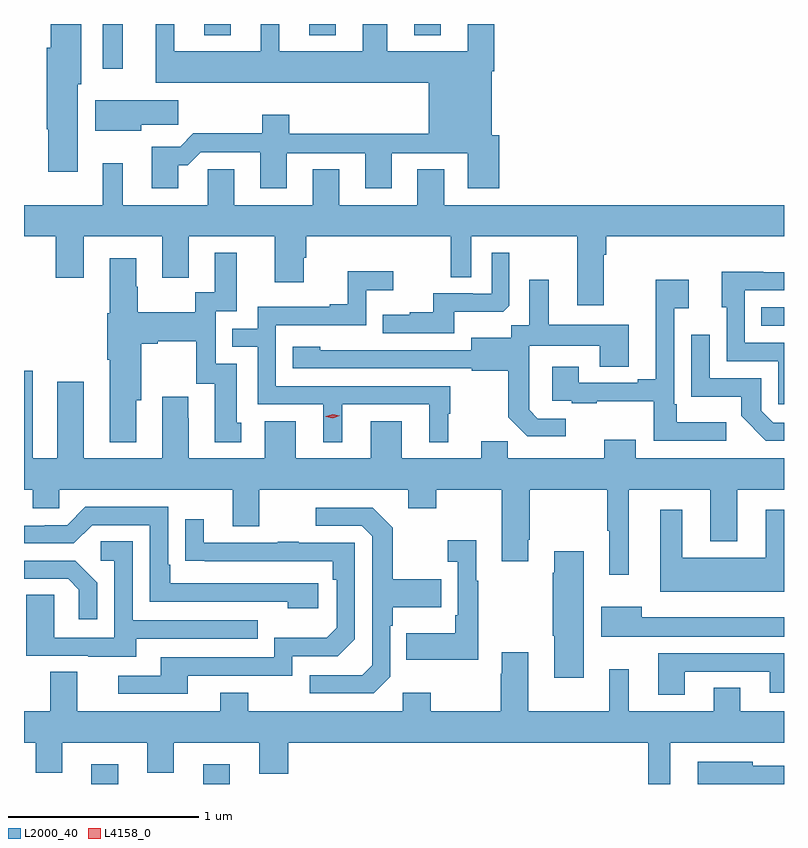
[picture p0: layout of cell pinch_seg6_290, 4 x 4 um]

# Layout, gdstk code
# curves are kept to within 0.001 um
import gdstk
lib = gdstk.Library(unit=1e-6, precision=1e-09)
def R(c, l, rs):  # rectangles x0, y0, x1, y1
    for r in rs: c.add(gdstk.rectangle(r[:2], r[2:], *l))
def A(c, l, x, y, w, h, nx, ny, dx, dy):  # array of equal rectangles
    R(c, l, [(x+i*dx, y+j*dy, x+i*dx+w, y+j*dy+h) for i in range(nx) for j in range(ny)])
def P(c, l, *ps):  # polygons
    for p in ps: c.add(gdstk.Polygon(p, *l))
L2000_40 = (2000, 40)
L4158_0 = (4158, 0)

pinch_seg6_290 = lib.new_cell('pinch_seg6_290')
A(pinch_seg6_290, L2000_40, 879.437, 959.051, 0.14, 0.059, 3, 1, 0.552, 0)
R(pinch_seg6_290, L2000_40, [(878.843,955.11,878.983,955.213), (879.431,955.11,879.571,955.213), (882.367,957.522,882.488,957.618), (878.903,958.875,879.007,959.11)])
P(pinch_seg6_290, L2000_40, [(879.301,958.367),(879.35,958.367),(879.417,958.434),(879.731,958.434),(879.731,958.245),(879.871,958.245),(879.871,958.431),(880.283,958.431),(880.283,958.245),(880.423,958.245),(880.423,958.431),(880.823,958.431),(880.823,958.245),(880.988,958.245),(880.988,958.524),(880.951,958.524),(880.951,958.862),(880.964,958.862),(880.964,959.11),(880.823,959.11),(880.823,958.966),(880.399,958.966),(880.399,959.11),(880.271,959.11),(880.271,958.966),(879.832,958.966),(879.832,959.11),(879.734,959.11),(879.734,958.966),(879.28,958.966),(879.28,959.11),(879.182,959.11),(879.182,958.802),(880.619,958.802),(880.619,958.532),(879.884,958.532),(879.884,958.633),(879.742,958.633),(879.742,958.535),(879.38,958.535),(879.31,958.465),(879.161,958.465),(879.161,958.245),(879.301,958.245)],
  [(878.77,958.794),(878.788,958.794),(878.788,959.11),(878.63,959.11),(878.63,958.986),(878.608,958.986),(878.608,958.555),(878.615,958.555),(878.615,958.332),(878.77,958.332)],
  [(879.106,958.579),(879.301,958.579),(879.301,958.708),(878.862,958.708),(878.862,958.547),(879.106,958.547)],
  [(881.539,957.896),(881.552,957.896),(881.552,957.992),(882.488,957.992),(882.488,958.156),(880.699,958.156),(880.699,958.346),(880.559,958.346),(880.559,958.156),(880.147,958.156),(880.147,958.346),(880.007,958.346),(880.007,958.156),(879.595,958.156),(879.595,958.346),(879.456,958.346),(879.456,958.156),(879.007,958.156),(879.007,958.378),(878.903,958.378),(878.903,958.156),(878.488,958.156),(878.488,957.992),(878.656,957.992),(878.656,957.774),(878.803,957.774),(878.803,957.992),(879.215,957.992),(879.215,957.774),(879.355,957.774),(879.355,957.992),(879.809,957.992),(879.809,957.75),(879.961,957.75),(879.961,957.879),(879.974,957.879),(879.974,957.992),(880.734,957.992),(880.734,957.778),(880.842,957.778),(880.842,957.992),(881.399,957.992),(881.399,957.63),(881.539,957.63)],
  [(880.753,957.596),(881.011,957.596),(881.043,957.627),(881.043,957.907),(880.95,957.907),(880.95,957.69),(880.85,957.69),(880.85,957.693),(880.643,957.693),(880.643,957.592),(880.519,957.592),(880.519,957.58),(880.375,957.58),(880.375,957.483),(880.753,957.483)],
  [(879.079,957.129),(879.105,957.129),(879.105,957.428),(879.193,957.428),(879.193,957.44),(879.395,957.44),(879.395,957.216),(879.491,957.216),(879.491,956.91),(879.631,956.91),(879.631,957.012),(879.607,957.012),(879.607,957.321),(879.498,957.321),(879.498,957.597),(879.607,957.597),(879.607,957.907),(879.491,957.907),(879.491,957.698),(879.39,957.698),(879.39,957.592),(879.087,957.592),(879.087,957.726),(879.079,957.726),(879.079,957.877),(878.939,957.877),(878.939,957.588),(878.927,957.588),(878.927,957.344),(878.939,957.344),(878.939,956.909),(879.079,956.909)],
  [(880.162,957.108),(880.622,957.108),(880.622,956.909),(880.72,956.909),(880.72,957.06),(880.732,957.06),(880.732,957.204),(879.813,957.204),(879.813,957.525),(880.29,957.525),(880.29,957.71),(880.432,957.71),(880.432,957.809),(880.192,957.809),(880.192,957.634),(880.097,957.634),(880.097,957.621),(879.717,957.621),(879.717,957.507),(879.583,957.507),(879.583,957.411),(879.717,957.411),(879.717,957.108),(880.064,957.108),(880.064,956.909),(880.162,956.909)],
  [(882.488,957.432),(882.282,957.432),(882.282,957.708),(882.488,957.708),(882.488,957.804),(882.379,957.804),(882.379,957.806),(882.161,957.806),(882.161,957.618),(882.186,957.618),(882.186,957.336),(882.459,957.336),(882.459,957.108),(882.488,957.108)],
  [(882.184,957.013),(881.923,957.013),(881.923,957.109),(881.91,957.109),(881.91,957.614),(881.986,957.614),(881.986,957.763),(881.813,957.763),(881.813,957.241),(881.717,957.241),(881.717,957.222),(881.407,957.222),(881.407,957.307),(881.267,957.307),(881.267,957.126),(881.371,957.126),(881.371,957.114),(881.503,957.114),(881.503,957.125),(881.802,957.125),(881.802,956.916),(882.184,956.916)],
  [(881.338,957.033),(881.193,957.033),(881.146,957.08),(881.146,957.175),(881.148,957.175),(881.148,957.416),(881.519,957.416),(881.519,957.307),(881.671,957.307),(881.671,957.526),(881.251,957.526),(881.251,957.763),(881.147,957.763),(881.147,957.524),(881.052,957.524),(881.052,957.46),(880.841,957.46),(880.841,957.393),(880.047,957.394),(880.047,957.412),(879.903,957.412),(879.903,957.297),(880.845,957.297),(880.845,957.285),(881.037,957.285),(881.037,957.039),(881.137,956.939),(881.338,956.939)],
  [(882.488,957.012),(882.432,957.012),(882.369,957.075),(882.369,957.246),(882.096,957.246),(882.096,957.475),(882,957.475),(882,957.149),(882.262,957.149),(882.262,957.047),(882.392,956.916),(882.488,956.916)],
  [(881.003,956.283),(881.143,956.283),(881.143,956.395),(881.151,956.395),(881.151,956.66),(881.557,956.66),(881.557,956.444),(881.567,956.444),(881.567,956.211),(881.671,956.211),(881.671,956.66),(882.101,956.66),(882.101,956.387),(882.241,956.387),(882.241,956.66),(882.488,956.66),(882.488,956.824),(881.707,956.824),(881.707,956.923),(881.543,956.923),(881.543,956.824),(881.033,956.824),(881.033,956.915),(880.895,956.915),(880.895,956.824),(880.477,956.824),(880.477,957.019),(880.313,957.019),(880.313,956.824),(879.919,956.824),(879.919,957.019),(879.755,957.019),(879.755,956.824),(879.355,956.824),(879.355,957.035),(879.352,957.035),(879.352,957.148),(879.215,957.148),(879.215,956.824),(878.803,956.824),(878.803,957.226),(878.663,957.226),(878.663,956.824),(878.533,956.824),(878.533,957.286),(878.488,957.286),(878.488,956.66),(878.535,956.66),(878.535,956.562),(878.673,956.562),(878.673,956.66),(879.587,956.66),(879.587,956.466),(879.727,956.466),(879.727,956.66),(880.511,956.66),(880.511,956.561),(880.659,956.561),(880.659,956.66),(881.003,956.66)],
  [(880.036,956.166),(879.259,956.166),(879.259,956.263),(879.246,956.263),(879.246,956.568),(878.811,956.568),(878.715,956.472),(878.597,956.472),(878.597,956.469),(878.488,956.469),(878.488,956.376),(878.751,956.376),(878.847,956.472),(879.15,956.472),(879.15,956.07),(879.875,956.07),(879.875,956.036),(880.036,956.036)],
  [(880.416,955.674),(880.416,955.943),(880.429,955.943),(880.429,956.039),(880.685,956.039),(880.685,956.187),(880.429,956.187),(880.429,956.459),(880.323,956.565),(880.023,956.565),(880.023,956.469),(880.266,956.469),(880.32,956.415),(880.32,955.734),(880.269,955.683),(879.993,955.683),(879.993,955.587),(880.329,955.587)],
  [(882.488,956.554),(882.392,956.554),(882.392,956.302),(881.953,956.302),(881.953,956.554),(881.837,956.554),(881.837,956.123),(882.488,956.123)],
  [(879.349,955.68),(879.9,955.68),(879.9,955.782),(880.14,955.782),(880.23,955.872),(880.23,956.379),(879.935,956.379),(879.935,956.384),(879.823,956.384),(879.823,956.379),(879.433,956.379),(879.433,956.503),(879.337,956.503),(879.337,956.284),(880.114,956.283),(880.114,956.186),(880.134,956.186),(880.134,955.932),(880.081,955.879),(879.804,955.879),(879.804,955.776),(879.209,955.776),(879.209,955.68),(878.985,955.68),(878.985,955.584),(879.349,955.584)],
  [(880.879,956.179),(880.867,956.179),(880.867,956.392),(880.719,956.392),(880.719,956.279),(880.77,956.279),(880.77,955.999),(880.758,955.999),(880.758,955.903),(880.501,955.903),(880.501,955.763),(880.879,955.763)],
  [(879.079,955.875),(879.719,955.875),(879.719,955.971),(879.06,955.971),(879.06,956.387),(878.892,956.387),(878.892,956.286),(878.964,956.286),(878.964,955.881),(878.646,955.881),(878.646,956.105),(878.501,956.105),(878.501,955.785),(878.825,955.785),(878.825,955.781),(879.079,955.781)],
  [(881.434,956.335),(881.279,956.335),(881.279,956.222),(881.272,956.222),(881.272,955.891),(881.279,955.891),(881.279,955.668),(881.434,955.668)],
  [(878.874,956.17),(878.758,956.286),(878.488,956.286),(878.488,956.19),(878.72,956.19),(878.777,956.133),(878.777,955.977),(878.874,955.977)],
  [(882.488,955.987),(881.74,955.987),(881.74,956.044),(881.526,956.044),(881.526,955.886),(882.488,955.886)],
  [(881.965,955.701),(882.413,955.701),(882.413,955.589),(882.488,955.589),(882.488,955.797),(881.825,955.797),(881.825,955.581),(881.965,955.581)],
  [(882.119,955.616),(882.119,955.492),(881.671,955.492),(881.671,955.714),(881.567,955.714),(881.567,955.492),(881.143,955.492),(881.143,955.804),(881.003,955.804),(881.003,955.691),(880.996,955.691),(880.996,955.492),(880.629,955.492),(880.629,955.591),(880.482,955.591),(880.482,955.492),(879.669,955.492),(879.669,955.591),(879.521,955.591),(879.521,955.492),(878.767,955.492),(878.767,955.7),(878.627,955.7),(878.627,955.492),(878.488,955.492),(878.488,955.328),(878.549,955.328),(878.549,955.168),(878.689,955.168),(878.689,955.328),(879.137,955.328),(879.137,955.168),(879.277,955.168),(879.277,955.328),(879.725,955.328),(879.725,955.164),(879.878,955.164),(879.878,955.328),(881.773,955.328),(881.773,955.11),(881.89,955.11),(881.89,955.328),(882.488,955.328),(882.488,955.492),(882.259,955.492),(882.259,955.616)],
  [(882.488,955.207),(882.324,955.207),(882.324,955.228),(882.035,955.228),(882.035,955.11),(882.488,955.11)])
P(pinch_seg6_290, L4158_0, [(880.113,957.036),(880.077,957.044),(880.077,957.045),(880.077,957.045),(880.113,957.056),(880.149,957.047),(880.149,957.047),(880.149,957.047)])

lib.write_gds('pinch_seg6_290.gds')
